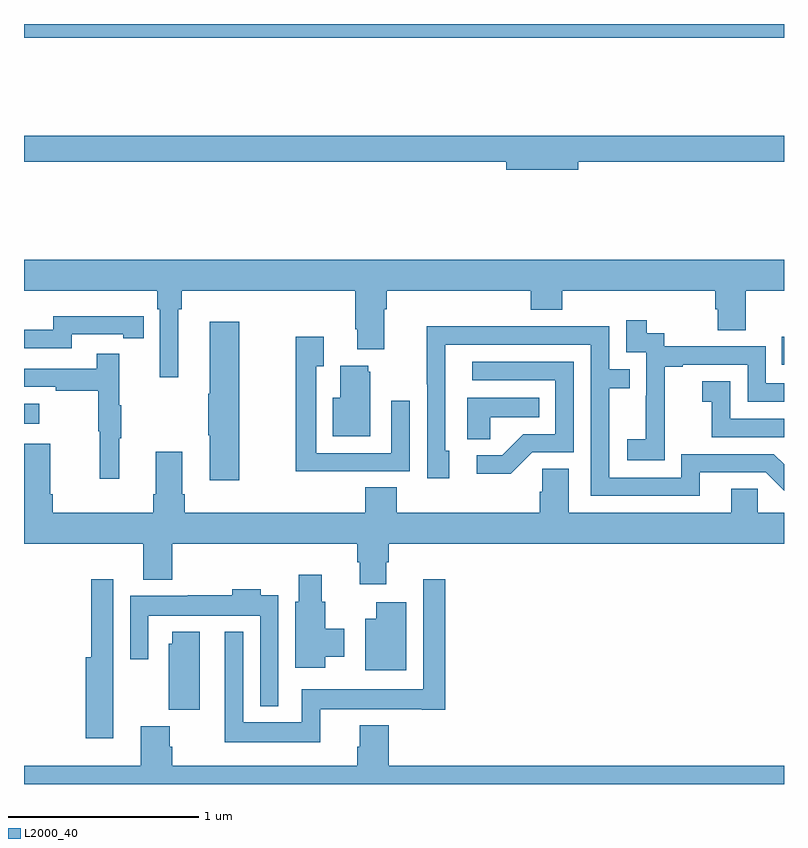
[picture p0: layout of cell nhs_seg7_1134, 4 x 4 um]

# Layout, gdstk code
import gdstk
lib = gdstk.Library(unit=1e-6, precision=1e-09)
def R(c, l, rs):  # rectangles x0, y0, x1, y1
    for r in rs: c.add(gdstk.rectangle(r[:2], r[2:], *l))
def P(c, l, *ps):  # polygons
    for p in ps: c.add(gdstk.Polygon(p, *l))
L2000_40 = (2000, 40)

nhs_seg7_1134 = lib.new_cell('nhs_seg7_1134')
R(nhs_seg7_1134, L2000_40, [(191,1019.897,191.08,1020.001), (194.989,1020.207,195,1020.355), (191,1021.928,195,1022)])
P(nhs_seg7_1134, L2000_40, [(193.918,1021.276),(195,1021.276),(195,1021.412),(191,1021.412),(191,1021.276),(193.538,1021.276),(193.538,1021.234),(193.918,1021.234)],
  [(191,1020.596),(191.702,1020.596),(191.702,1020.5),(191.715,1020.5),(191.715,1020.141),(191.812,1020.141),(191.812,1020.5),(191.831,1020.5),(191.831,1020.596),(192.743,1020.596),(192.743,1020.394),(192.755,1020.394),(192.755,1020.287),(192.895,1020.287),(192.895,1020.5),(192.908,1020.5),(192.908,1020.596),(193.667,1020.596),(193.667,1020.497),(193.832,1020.497),(193.832,1020.596),(194.639,1020.596),(194.639,1020.498),(194.651,1020.498),(194.651,1020.388),(194.799,1020.388),(194.799,1020.596),(195,1020.596),(195,1020.76),(191,1020.76)],
  [(191.25,1020.366),(191.522,1020.366),(191.522,1020.346),(191.63,1020.346),(191.63,1020.462),(191.522,1020.462),(191.522,1020.463),(191.154,1020.463),(191.154,1020.39),(191,1020.39),(191,1020.294),(191.25,1020.294)],
  [(194.373,1019.911),(194.372,1019.911),(194.372,1020.195),(194.467,1020.195),(194.467,1020.207),(194.808,1020.207),(194.808,1020.012),(195,1020.012),(195,1020.108),(194.904,1020.108),(194.904,1020.303),(194.37,1020.303),(194.37,1020.372),(194.278,1020.372),(194.278,1020.442),(194.169,1020.442),(194.169,1020.273),(194.274,1020.273),(194.274,1020.044),(194.273,1020.044),(194.273,1019.815),(194.175,1019.815),(194.175,1019.705),(194.373,1019.705)],
  [(192.132,1020.433),(191.978,1020.433),(191.978,1020.053),(191.971,1020.053),(191.971,1019.836),(191.978,1019.836),(191.978,1019.598),(192.132,1019.598)],
  [(194.557,1019.64),(194.904,1019.64),(195,1019.544),(195,1019.682),(194.946,1019.736),(194.46,1019.736),(194.46,1019.613),(194.079,1019.613),(194.079,1020.082),(194.189,1020.082),(194.189,1020.183),(194.079,1020.183),(194.079,1020.408),(193.583,1020.408),(193.583,1020.41),(193.12,1020.41),(193.12,1020.103),(193.122,1020.103),(193.122,1019.61),(193.237,1019.61),(193.237,1019.754),(193.218,1019.754),(193.218,1020.312),(193.983,1020.312),(193.983,1019.517),(194.557,1019.517)],
  [(192.713,1019.646),(193.029,1019.646),(193.029,1020.016),(192.933,1020.016),(192.933,1019.742),(192.537,1019.742),(192.537,1020.199),(192.577,1020.199),(192.577,1020.355),(192.429,1020.355),(192.429,1019.645),(192.713,1019.645)],
  [(191.501,1019.819),(191.512,1019.819),(191.512,1019.993),(191.501,1019.993),(191.501,1020.265),(191.383,1020.265),(191.383,1020.186),(191,1020.186),(191,1020.09),(191.167,1020.09),(191.167,1020.07),(191.391,1020.07),(191.391,1019.856),(191.398,1019.856),(191.398,1019.607),(191.501,1019.607)],
  [(193.674,1019.745),(193.893,1019.745),(193.893,1020.222),(193.359,1020.222),(193.359,1020.126),(193.797,1020.126),(193.797,1019.841),(193.628,1019.841),(193.517,1019.73),(193.383,1019.73),(193.383,1019.633),(193.561,1019.633)],
  [(192.823,1020.171),(192.812,1020.171),(192.812,1020.202),(192.665,1020.202),(192.665,1020.034),(192.626,1020.034),(192.626,1019.831),(192.823,1019.831)],
  [(195,1019.922),(194.718,1019.922),(194.718,1020.121),(194.571,1020.121),(194.571,1020.011),(194.62,1020.011),(194.62,1019.826),(195,1019.826)],
  [(193.455,1019.93),(193.712,1019.93),(193.712,1020.034),(193.334,1020.034),(193.334,1019.815),(193.455,1019.815)],
  [(192.907,1019.166),(192.92,1019.166),(192.92,1019.264),(195,1019.264),(195,1019.428),(194.862,1019.428),(194.862,1019.555),(194.723,1019.555),(194.723,1019.428),(193.867,1019.428),(193.867,1019.66),(193.728,1019.66),(193.728,1019.537),(193.715,1019.537),(193.715,1019.428),(192.962,1019.428),(192.962,1019.561),(192.797,1019.561),(192.797,1019.428),(191.846,1019.428),(191.846,1019.524),(191.833,1019.524),(191.833,1019.749),(191.693,1019.749),(191.693,1019.524),(191.681,1019.524),(191.681,1019.428),(191.15,1019.428),(191.15,1019.524),(191.137,1019.524),(191.137,1019.791),(191,1019.791),(191,1019.264),(191.627,1019.264),(191.627,1019.075),(191.78,1019.075),(191.78,1019.264),(192.755,1019.264),(192.755,1019.166),(192.767,1019.166),(192.767,1019.052),(192.907,1019.052)],
  [(192.586,1018.67),(192.685,1018.67),(192.685,1018.818),(192.586,1018.818),(192.586,1018.959),(192.568,1018.959),(192.568,1019.101),(192.446,1019.101),(192.446,1018.959),(192.428,1018.959),(192.428,1018.611),(192.586,1018.611)],
  [(191.47,1018.562),(191.469,1018.562),(191.469,1019.077),(191.353,1019.077),(191.353,1018.666),(191.324,1018.666),(191.324,1018.242),(191.47,1018.242)],
  [(192.56,1018.394),(193.094,1018.394),(193.094,1018.392),(193.217,1018.392),(193.217,1019.077),(193.101,1019.077),(193.101,1018.498),(192.462,1018.498),(192.462,1018.324),(192.153,1018.324),(192.153,1018.801),(192.056,1018.801),(192.056,1018.22),(192.56,1018.22)],
  [(192.339,1018.993),(192.247,1018.993),(192.247,1019.026),(192.095,1019.026),(192.095,1018.993),(191.863,1018.993),(191.863,1018.99),(191.559,1018.99),(191.559,1018.656),(191.655,1018.656),(191.655,1018.886),(192.243,1018.886),(192.243,1018.409),(192.339,1018.409)],
  [(193.012,1018.957),(192.854,1018.957),(192.854,1018.87),(192.797,1018.87),(192.797,1018.598),(193.012,1018.598)],
  [(191.926,1018.801),(191.78,1018.801),(191.78,1018.737),(191.762,1018.737),(191.762,1018.39),(191.926,1018.39)],
  [(195,1018.096),(192.92,1018.096),(192.92,1018.309),(192.767,1018.309),(192.767,1018.197),(192.755,1018.197),(192.755,1018.096),(191.78,1018.096),(191.78,1018.196),(191.767,1018.196),(191.767,1018.305),(191.615,1018.305),(191.615,1018.096),(191,1018.096),(191,1018),(195,1018)])

lib.write_gds('nhs_seg7_1134.gds')
